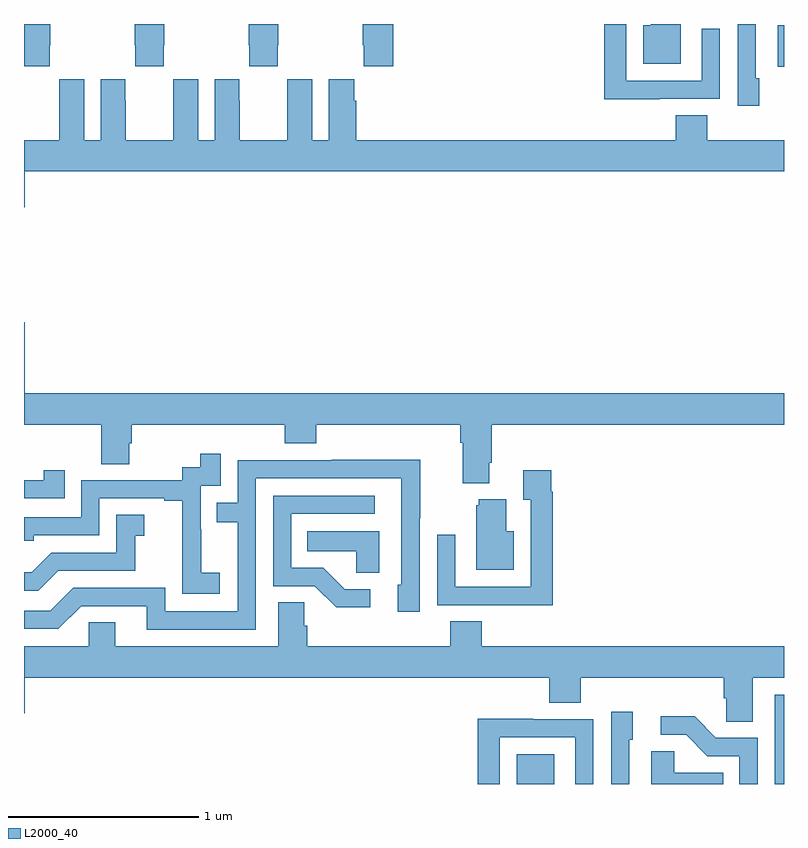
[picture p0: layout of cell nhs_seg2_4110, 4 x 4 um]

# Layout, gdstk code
import gdstk
lib = gdstk.Library(unit=1e-6, precision=1e-09)
def R(c, l, rs):  # rectangles x0, y0, x1, y1
    for r in rs: c.add(gdstk.rectangle(r[:2], r[2:], *l))
def P(c, l, *ps):  # polygons
    for p in ps: c.add(gdstk.Polygon(p, *l))
L2000_40 = (2000, 40)

nhs_seg2_4110 = lib.new_cell('nhs_seg2_4110')
R(nhs_seg2_4110, L2000_40, [(335.594,589.8,335.791,589.957), (336.951,589.8,337,590.271), (336.968,593.575,337,593.794)])
P(nhs_seg2_4110, L2000_40, [(336.457,593.8),(336.299,593.8),(336.299,593.794),(336.26,593.794),(336.26,593.591),(336.457,593.591)],
  [(336.347,593.406),(336.663,593.406),(336.663,593.776),(336.567,593.776),(336.567,593.502),(336.171,593.502),(336.171,593.8),(336.055,593.8),(336.055,593.405),(336.347,593.405)],
  [(334.943,593.8),(334.783,593.8),(334.783,593.689),(334.789,593.689),(334.789,593.577),(334.943,593.577)],
  [(334.335,593.689),(334.338,593.689),(334.338,593.8),(334.183,593.8),(334.183,593.689),(334.185,593.689),(334.185,593.577),(334.335,593.577)],
  [(333.735,593.689),(333.738,593.689),(333.738,593.8),(333.583,593.8),(333.583,593.689),(333.585,593.689),(333.585,593.577),(333.735,593.577)],
  [(336.871,593.514),(336.852,593.514),(336.852,593.8),(336.756,593.8),(336.756,593.37),(336.871,593.37)],
  [(333.135,593.689),(333.138,593.689),(333.138,593.8),(333,593.8),(333,593.577),(333.135,593.577)],
  [(333.004,593.024),(337,593.024),(337,593.188),(336.596,593.188),(336.596,593.321),(336.431,593.321),(336.431,593.188),(334.748,593.188),(334.748,593.396),(334.738,593.396),(334.738,593.509),(334.604,593.509),(334.604,593.188),(334.516,593.188),(334.516,593.509),(334.386,593.509),(334.386,593.396),(334.385,593.396),(334.385,593.188),(334.135,593.188),(334.135,593.396),(334.134,593.396),(334.134,593.509),(334.004,593.509),(334.004,593.188),(333.916,593.188),(333.916,593.509),(333.786,593.509),(333.786,593.396),(333.785,593.396),(333.785,593.188),(333.535,593.188),(333.535,593.396),(333.534,593.396),(333.534,593.509),(333.404,593.509),(333.404,593.188),(333.316,593.188),(333.316,593.509),(333.186,593.509),(333.186,593.396),(333.185,593.396),(333.185,593.188),(333,593.188),(333,592.836),(333.004,592.836)],
  [(335.449,591.49),(335.462,591.49),(335.462,591.692),(337,591.692),(337,591.856),(333.004,591.856),(333.004,592.231),(333,592.231),(333,591.692),(333.406,591.692),(333.406,591.484),(333.553,591.484),(333.553,591.594),(333.566,591.594),(333.566,591.692),(334.373,591.692),(334.373,591.593),(334.538,591.593),(334.538,591.692),(335.297,591.692),(335.297,591.596),(335.309,591.596),(335.309,591.383),(335.449,591.383)],
  [(334.03,590.911),(333.932,590.911),(333.932,591.14),(333.93,591.14),(333.93,591.369),(334.035,591.369),(334.035,591.538),(333.927,591.538),(333.927,591.468),(333.834,591.468),(333.834,591.399),(333.3,591.399),(333.3,591.204),(333,591.204),(333,591.081),(333.051,591.081),(333.051,591.108),(333.396,591.108),(333.396,591.303),(333.737,591.303),(333.737,591.291),(333.833,591.291),(333.833,591.007),(333.832,591.007),(333.832,590.801),(334.03,590.801)],
  [(334.221,591.408),(334.986,591.408),(334.986,590.85),(334.967,590.85),(334.967,590.706),(335.082,590.706),(335.082,591.199),(335.085,591.199),(335.085,591.506),(334.621,591.506),(334.621,591.504),(334.125,591.504),(334.125,591.279),(334.015,591.279),(334.015,591.178),(334.125,591.178),(334.125,590.709),(333.744,590.709),(333.744,590.832),(333.258,590.832),(333.138,590.712),(333,590.712),(333,590.616),(333.18,590.616),(333.3,590.736),(333.647,590.736),(333.647,590.613),(334.221,590.613)],
  [(333.215,591.451),(333.104,591.451),(333.104,591.399),(333,591.399),(333,591.303),(333.215,591.303)],
  [(335.783,591.338),(335.776,591.338),(335.776,591.451),(335.627,591.451),(335.627,591.295),(335.667,591.295),(335.667,590.838),(335.271,590.838),(335.271,591.112),(335.175,591.112),(335.175,590.742),(335.491,590.742),(335.491,590.741),(335.783,590.741)],
  [(334.822,590.826),(334.687,590.826),(334.576,590.937),(334.407,590.937),(334.407,591.222),(334.846,591.222),(334.846,591.318),(334.311,591.318),(334.311,590.841),(334.53,590.841),(334.643,590.729),(334.822,590.729)],
  [(335.578,591.13),(335.539,591.13),(335.539,591.298),(335.393,591.298),(335.393,591.267),(335.381,591.267),(335.381,590.927),(335.578,590.927)],
  [(333.181,590.922),(333.585,590.922),(333.585,591.107),(333.634,591.107),(333.634,591.217),(333.486,591.217),(333.486,591.018),(333.144,591.018),(333.04,590.914),(333,590.914),(333,590.817),(333.076,590.817)],
  [(334.87,591.13),(334.492,591.13),(334.492,591.026),(334.749,591.026),(334.749,590.911),(334.87,590.911)],
  [(336.835,590.36),(337,590.36),(337,590.524),(335.408,590.524),(335.408,590.657),(335.243,590.657),(335.243,590.524),(334.49,590.524),(334.49,590.633),(334.476,590.633),(334.476,590.756),(334.337,590.756),(334.337,590.524),(333.481,590.524),(333.481,590.651),(333.342,590.651),(333.342,590.524),(333,590.524),(333,590.172),(333.004,590.172),(333.004,590.36),(335.765,590.36),(335.765,590.227),(335.93,590.227),(335.93,590.36),(336.683,590.36),(336.683,590.251),(336.696,590.251),(336.696,590.128),(336.835,590.128)],
  [(336.186,590.034),(336.205,590.034),(336.205,590.179),(336.09,590.179),(336.09,589.8),(336.186,589.8)],
  [(336.861,590.043),(336.642,590.043),(336.529,590.156),(336.351,590.156),(336.351,590.058),(336.485,590.058),(336.596,589.947),(336.765,589.947),(336.765,589.8),(336.861,589.8)],
  [(335.505,590.046),(335.901,590.046),(335.901,589.8),(335.997,589.8),(335.997,590.142),(335.681,590.142),(335.681,590.144),(335.389,590.144),(335.389,589.8),(335.505,589.8)],
  [(336.68,589.858),(336.423,589.858),(336.423,589.973),(336.302,589.973),(336.302,589.8),(336.68,589.8)])

lib.write_gds('nhs_seg2_4110.gds')
